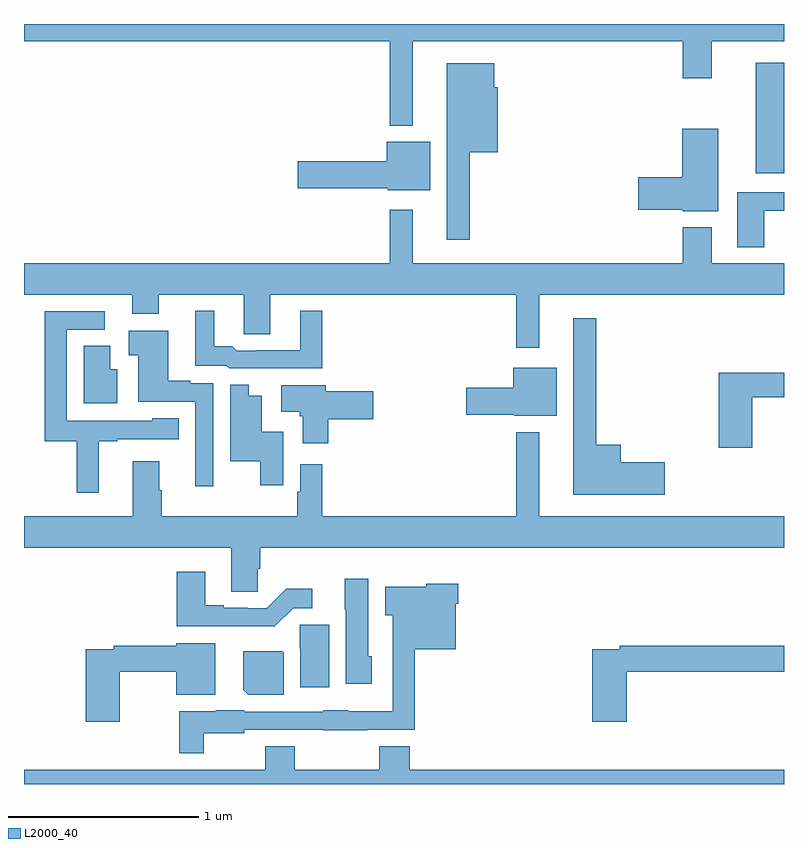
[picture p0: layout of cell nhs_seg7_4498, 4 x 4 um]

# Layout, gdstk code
import gdstk
lib = gdstk.Library(unit=1e-6, precision=1e-09)
def R(c, l, rs):  # rectangles x0, y0, x1, y1
    for r in rs: c.add(gdstk.rectangle(r[:2], r[2:], *l))
def P(c, l, *ps):  # polygons
    for p in ps: c.add(gdstk.Polygon(p, *l))
L2000_40 = (2000, 40)

nhs_seg7_4498 = lib.new_cell('nhs_seg7_4498')
R(nhs_seg7_4498, L2000_40, [(396.851,1041.215,397,1041.796)])
P(nhs_seg7_4498, L2000_40, [(395.047,1041.908),(396.467,1041.908),(396.467,1041.714),(396.619,1041.714),(396.619,1041.908),(397,1041.908),(397,1042),(393,1042),(393,1041.908),(394.926,1041.908),(394.926,1041.464),(395.047,1041.464)],
  [(395.347,1041.326),(395.494,1041.326),(395.494,1041.666),(395.476,1041.666),(395.476,1041.793),(395.225,1041.793),(395.225,1040.865),(395.347,1040.865)],
  [(396.655,1041.448),(396.464,1041.448),(396.464,1041.194),(396.234,1041.194),(396.234,1041.023),(396.468,1041.023),(396.468,1041.014),(396.655,1041.014)],
  [(395.137,1041.379),(394.91,1041.379),(394.91,1041.278),(394.44,1041.278),(394.44,1041.136),(394.914,1041.136),(394.914,1041.125),(395.137,1041.125)],
  [(396.895,1041.018),(397,1041.018),(397,1041.114),(396.755,1041.114),(396.755,1040.826),(396.895,1040.826)],
  [(395.713,1040.576),(397,1040.576),(397,1040.74),(396.619,1040.74),(396.619,1040.929),(396.467,1040.929),(396.467,1040.74),(395.047,1040.74),(395.047,1041.022),(394.926,1041.022),(394.926,1040.74),(393,1040.74),(393,1040.576),(393.569,1040.576),(393.569,1040.474),(393.709,1040.474),(393.709,1040.576),(394.157,1040.576),(394.157,1040.368),(394.297,1040.368),(394.297,1040.576),(395.592,1040.576),(395.592,1040.295),(395.713,1040.295)],
  [(394.571,1040.491),(394.454,1040.491),(394.454,1040.283),(394.219,1040.283),(394.219,1040.28),(394.119,1040.28),(394.097,1040.303),(394,1040.303),(394,1040.491),(393.902,1040.491),(393.902,1040.202),(394.065,1040.202),(394.08,1040.187),(394.571,1040.187)],
  [(393.394,1039.803),(393.49,1039.803),(393.49,1039.815),(393.815,1039.815),(393.815,1039.924),(393.675,1039.924),(393.675,1039.911),(393.225,1039.911),(393.225,1040.391),(393.424,1040.391),(393.424,1040.487),(393.109,1040.487),(393.109,1039.803),(393.277,1039.803),(393.277,1039.533),(393.394,1039.533)],
  [(396.373,1039.694),(396.142,1039.694),(396.142,1039.786),(396.013,1039.786),(396.013,1040.452),(395.891,1040.452),(395.891,1039.523),(396.373,1039.523)],
  [(393.996,1040.109),(393.875,1040.109),(393.875,1040.122),(393.76,1040.122),(393.76,1040.386),(393.552,1040.386),(393.552,1040.257),(393.602,1040.257),(393.602,1040.013),(393.9,1040.013),(393.9,1039.566),(393.996,1039.566)],
  [(393.49,1040.182),(393.454,1040.182),(393.454,1040.306),(393.314,1040.306),(393.314,1040.003),(393.49,1040.003)],
  [(395.803,1040.191),(395.576,1040.191),(395.576,1040.085),(395.328,1040.085),(395.328,1039.943),(395.58,1039.943),(395.58,1039.937),(395.803,1039.937)],
  [(396.834,1040.035),(397,1040.035),(397,1040.164),(396.656,1040.164),(396.656,1039.77),(396.834,1039.77)],
  [(394.365,1039.855),(394.252,1039.855),(394.252,1040.044),(394.183,1040.044),(394.183,1040.102),(394.086,1040.102),(394.086,1039.7),(394.244,1039.7),(394.244,1039.572),(394.365,1039.572)],
  [(394.601,1039.919),(394.837,1039.919),(394.837,1040.066),(394.588,1040.066),(394.588,1040.098),(394.353,1040.098),(394.353,1039.958),(394.452,1039.958),(394.452,1039.935),(394.466,1039.935),(394.466,1039.794),(394.601,1039.794)],
  [(394.23,1039.134),(394.244,1039.134),(394.244,1039.244),(397,1039.244),(397,1039.408),(395.713,1039.408),(395.713,1039.852),(395.592,1039.852),(395.592,1039.408),(394.571,1039.408),(394.571,1039.684),(394.455,1039.684),(394.455,1039.538),(394.439,1039.538),(394.439,1039.408),(393.725,1039.408),(393.725,1039.545),(393.712,1039.545),(393.712,1039.699),(393.572,1039.699),(393.572,1039.408),(393,1039.408),(393,1039.244),(394.091,1039.244),(394.091,1039.012),(394.23,1039.012)],
  [(394.416,1038.924),(394.516,1038.924),(394.516,1039.027),(394.381,1039.027),(394.278,1038.924),(394.178,1038.924),(394.178,1038.927),(394.051,1038.927),(394.051,1038.94),(393.955,1038.94),(393.955,1039.117),(393.803,1039.117),(393.803,1038.83),(394.321,1038.83)],
  [(394.831,1038.672),(394.813,1038.672),(394.813,1039.081),(394.688,1039.081),(394.688,1038.918),(394.694,1038.918),(394.694,1038.528),(394.831,1038.528)],
  [(393.946,1038.266),(394.158,1038.266),(394.158,1038.285),(394.575,1038.285),(394.575,1038.284),(394.807,1038.284),(394.807,1038.285),(395.057,1038.285),(395.057,1038.71),(395.272,1038.71),(395.272,1038.95),(395.285,1038.95),(395.285,1039.054),(395.118,1039.054),(395.118,1039.039),(394.901,1039.039),(394.901,1038.887),(394.941,1038.887),(394.941,1038.382),(394.707,1038.382),(394.707,1038.388),(394.575,1038.388),(394.575,1038.381),(394.158,1038.381),(394.158,1038.388),(394.008,1038.388),(394.008,1038.382),(393.817,1038.382),(393.817,1038.161),(393.946,1038.161)],
  [(394.606,1038.837),(394.45,1038.837),(394.45,1038.714),(394.454,1038.714),(394.454,1038.51),(394.606,1038.51)],
  [(393.504,1038.592),(393.8,1038.592),(393.8,1038.47),(394.006,1038.47),(394.006,1038.742),(393.8,1038.742),(393.8,1038.728),(393.472,1038.728),(393.472,1038.708),(393.326,1038.708),(393.326,1038.327),(393.504,1038.327)],
  [(396.173,1038.592),(397,1038.592),(397,1038.728),(396.136,1038.728),(396.136,1038.708),(395.99,1038.708),(395.99,1038.327),(396.173,1038.327)],
  [(394.366,1038.692),(394.358,1038.7),(394.154,1038.7),(394.154,1038.496),(394.18,1038.47),(394.366,1038.47)],
  [(397,1038.076),(395.03,1038.076),(395.03,1038.2),(394.87,1038.2),(394.87,1038.076),(394.425,1038.076),(394.425,1038.2),(394.27,1038.2),(394.27,1038.076),(393,1038.076),(393,1038),(397,1038)])

lib.write_gds('nhs_seg7_4498.gds')
